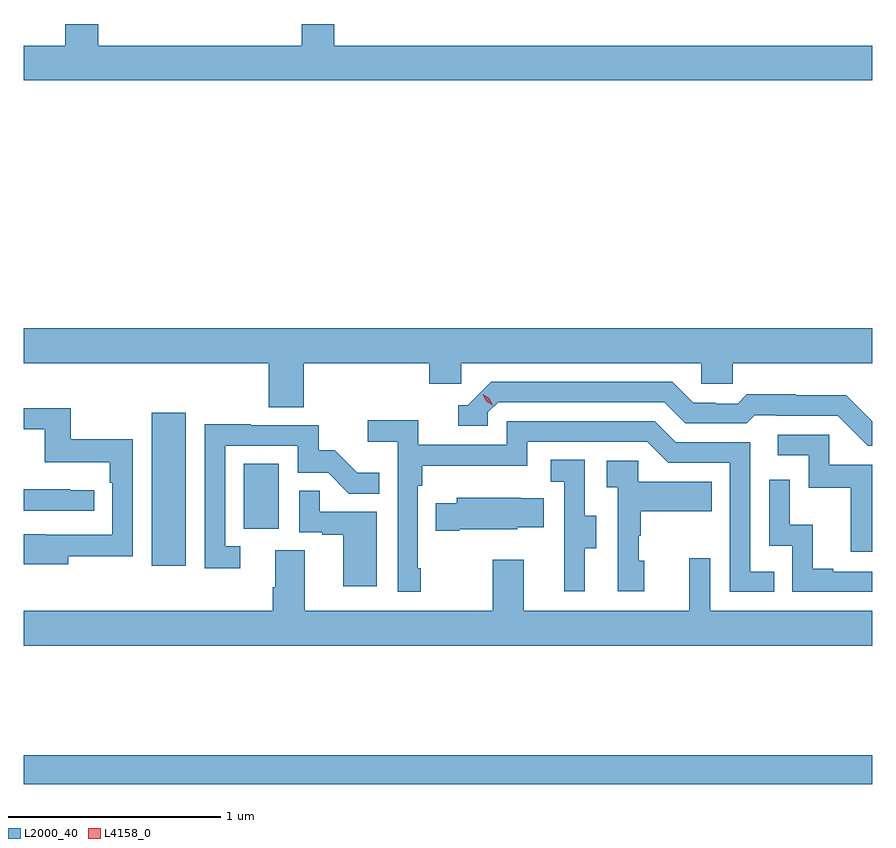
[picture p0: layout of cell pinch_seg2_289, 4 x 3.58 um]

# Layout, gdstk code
import gdstk
lib = gdstk.Library(unit=1e-6, precision=1e-09)
def R(c, l, rs):  # rectangles x0, y0, x1, y1
    for r in rs: c.add(gdstk.rectangle(r[:2], r[2:], *l))
def P(c, l, *ps):  # polygons
    for p in ps: c.add(gdstk.Polygon(p, *l))
L2000_40 = (2000, 40)
L4158_0 = (4158, 0)

pinch_seg2_289 = lib.new_cell('pinch_seg2_289')
R(pinch_seg2_289, L2000_40, [(950.162,629.668,954.162,629.804), (950.765,630.696,950.926,631.417), (951.2,630.87,951.364,631.177)])
P(pinch_seg2_289, L2000_40, [(954.162,633.148),(951.626,633.148),(951.626,633.25),(951.473,633.25),(951.473,633.148),(950.513,633.148),(950.513,633.25),(950.357,633.25),(950.357,633.148),(950.162,633.148),(950.162,632.984),(954.162,632.984)],
  [(951.482,631.652),(952.073,631.652),(952.073,631.554),(952.224,631.554),(952.224,631.652),(953.355,631.652),(953.355,631.554),(953.505,631.554),(953.505,631.652),(954.162,631.652),(954.162,631.816),(950.162,631.816),(950.162,631.652),(951.317,631.652),(951.317,631.444),(951.482,631.444)],
  [(954.162,631.377),(954.038,631.501),(953.802,631.501),(953.802,631.504),(953.569,631.504),(953.527,631.461),(953.424,631.461),(953.424,631.464),(953.317,631.464),(953.218,631.563),(952.365,631.563),(952.254,631.452),(952.211,631.452),(952.211,631.356),(952.35,631.356),(952.35,631.419),(952.398,631.467),(953.181,631.467),(953.28,631.368),(953.569,631.368),(953.608,631.407),(953.707,631.407),(953.707,631.404),(954,631.404),(954.141,631.263),(954.162,631.263)],
  [(950.371,630.742),(950.676,630.742),(950.676,631.294),(950.383,631.294),(950.383,631.44),(950.162,631.44),(950.162,631.339),(950.262,631.339),(950.262,631.184),(950.567,631.184),(950.567,631.088),(950.58,631.088),(950.58,630.843),(950.267,630.843),(950.267,630.844),(950.162,630.844),(950.162,630.704),(950.371,630.704)],
  [(952.033,630.685),(952.02,630.685),(952.02,631.073),(952.04,631.073),(952.04,631.169),(952.536,631.169),(952.536,631.281),(953.1,631.281),(953.199,631.182),(953.49,631.182),(953.49,630.573),(953.699,630.573),(953.699,630.669),(953.586,630.669),(953.586,631.278),(953.236,631.278),(953.137,631.377),(952.44,631.377),(952.44,631.266),(952.022,631.266),(952.022,631.382),(951.783,631.382),(951.783,631.28),(951.924,631.28),(951.924,630.573),(952.033,630.573)],
  [(951.184,630.789),(951.111,630.789),(951.111,631.263),(951.453,631.263),(951.453,631.134),(951.597,631.134),(951.695,631.036),(951.839,631.036),(951.839,631.135),(951.735,631.135),(951.628,631.242),(951.552,631.242),(951.552,631.359),(951.233,631.359),(951.233,631.364),(951.015,631.364),(951.015,630.684),(951.184,630.684)],
  [(954.162,631.173),(953.958,631.173),(953.958,631.314),(953.715,631.314),(953.715,631.218),(953.862,631.218),(953.862,631.065),(954.061,631.065),(954.061,630.762),(954.162,630.762)],
  [(952.807,630.778),(952.861,630.778),(952.861,630.933),(952.806,630.933),(952.806,631.196),(952.647,631.196),(952.647,631.093),(952.71,631.093),(952.71,630.789),(952.709,630.789),(952.709,630.576),(952.807,630.576)],
  [(953.086,630.72),(953.061,630.72),(953.061,630.839),(953.071,630.839),(953.071,630.953),(953.405,630.953),(953.405,631.093),(953.058,631.093),(953.058,631.191),(952.911,631.191),(952.911,631.067),(952.962,631.067),(952.962,630.576),(953.086,630.576)],
  [(954.162,630.669),(953.977,630.669),(953.977,630.682),(953.882,630.682),(953.882,630.89),(953.772,630.89),(953.772,631.102),(953.676,631.102),(953.676,630.792),(953.784,630.792),(953.784,630.573),(954.162,630.573)],
  [(950.494,631.053),(950.381,631.053),(950.381,631.058),(950.162,631.058),(950.162,630.957),(950.494,630.957)],
  [(951.826,630.951),(951.557,630.951),(951.557,631.049),(951.462,631.049),(951.462,630.855),(951.569,630.855),(951.569,630.843),(951.668,630.843),(951.668,630.6),(951.826,630.6)],
  [(952.216,630.869),(952.488,630.869),(952.488,630.878),(952.613,630.878),(952.613,631.015),(952.505,631.015),(952.505,631.018),(952.203,631.018),(952.203,630.991),(952.105,630.991),(952.105,630.862),(952.216,630.862)],
  [(954.162,630.484),(953.397,630.484),(953.397,630.733),(953.3,630.733),(953.3,630.484),(952.519,630.484),(952.519,630.724),(952.372,630.724),(952.372,630.484),(951.487,630.484),(951.487,630.77),(951.347,630.77),(951.347,630.596),(951.335,630.596),(951.335,630.484),(950.162,630.484),(950.162,630.32),(954.162,630.32)])
P(pinch_seg2_289, L4158_0, [(952.373,631.453),(952.342,631.472),(952.326,631.504),(952.326,631.504),(952.326,631.504),(952.357,631.485),(952.374,631.453),(952.374,631.453)])

lib.write_gds('pinch_seg2_289.gds')
